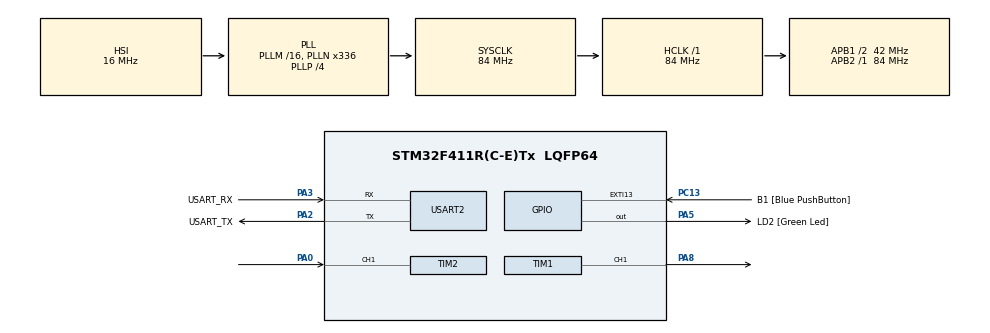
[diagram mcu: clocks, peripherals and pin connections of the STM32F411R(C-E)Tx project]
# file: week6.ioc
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Dma.Request0=TIM2_CH1
Dma.TIM2_CH1.0.Direction=DMA_PERIPH_TO_MEMORY
Dma.TIM2_CH1.0.FIFOMode=DMA_FIFOMODE_DISABLE
Dma.TIM2_CH1.0.Instance=DMA1_Stream5
Dma.TIM2_CH1.0.MemDataAlignment=DMA_MDATAALIGN_WORD
Dma.TIM2_CH1.0.MemInc=DMA_MINC_ENABLE
Dma.TIM2_CH1.0.Mode=DMA_CIRCULAR
Dma.TIM2_CH1.0.PeriphDataAlignment=DMA_PDATAALIGN_WORD
Dma.TIM2_CH1.0.PeriphInc=DMA_PINC_DISABLE
Dma.TIM2_CH1.0.Priority=DMA_PRIORITY_LOW
Mcu.Family=STM32F4
Mcu.Name=STM32F411R(C-E)Tx
Mcu.Package=LQFP64
NVIC.DMA1_Stream5_IRQn=true\:0\:0\:false\:false\:true\:false\:true\:true
NVIC.PriorityGroup=NVIC_PRIORITYGROUP_0
PA0-WKUP.Signal=S_TIM2_CH1_ETR
PA13.GPIO_Label=TMS
PA13.Mode=Serial_Wire
PA13.Signal=SYS_JTMS-SWDIO
PA14.GPIO_Label=TCK
PA14.Mode=Serial_Wire
PA14.Signal=SYS_JTCK-SWCLK
PA2.GPIO_Label=USART_TX
PA2.Mode=Asynchronous
PA2.Signal=USART2_TX
PA3.GPIO_Label=USART_RX
PA3.Mode=Asynchronous
PA3.Signal=USART2_RX
PA5.GPIO_Label=LD2 [Green Led]
PA5.Signal=GPIO_Output
PA8.Signal=S_TIM1_CH1
PB3.GPIO_Label=SWO
PB3.Signal=SYS_JTDO-SWO
PC13-ANTI_TAMP.GPIO_Label=B1 [Blue PushButton]
PC13-ANTI_TAMP.GPIO_ModeDefaultEXTI=GPIO_MODE_IT_FALLING
PC13-ANTI_TAMP.Signal=GPXTI13
PC14-OSC32_IN.Mode=LSE-External-Oscillator
PC14-OSC32_IN.Signal=RCC_OSC32_IN
PC15-OSC32_OUT.Mode=LSE-External-Oscillator
PC15-OSC32_OUT.Signal=RCC_OSC32_OUT
PH0\ -\ OSC_IN.Mode=HSE-External-Clock-Source
PH0\ -\ OSC_IN.Signal=RCC_OSC_IN
PH1\ -\ OSC_OUT.Mode=HSE-External-Clock-Source
PH1\ -\ OSC_OUT.Signal=RCC_OSC_OUT
ProjectManager.HeapSize=0x200
ProjectManager.StackSize=0x400
ProjectManager.TargetToolchain=STM32CubeIDE
RCC.48MHZClocksFreq_Value=84000000
RCC.AHBFreq_Value=84000000
RCC.APB1CLKDivider=RCC_HCLK_DIV2
RCC.APB1Freq_Value=42000000
RCC.APB1TimFreq_Value=84000000
RCC.APB2Freq_Value=84000000
RCC.APB2TimFreq_Value=84000000
RCC.CortexFreq_Value=84000000
RCC.FLatency-AdvancedSettings=FLASH_LATENCY_2
RCC.HCLKFreq_Value=84000000
RCC.HSE_VALUE=8000000
RCC.HSI_VALUE=16000000
RCC.PLLN=336
RCC.PLLP=RCC_PLLP_DIV4
RCC.SYSCLKFreq_VALUE=84000000
RCC.SYSCLKSource=RCC_SYSCLKSOURCE_PLLCLK
RCC.VCOOutputFreq_Value=336000000
SH.S_TIM1_CH1.0=TIM1_CH1,PWM Generation1 CH1
SH.S_TIM2_CH1_ETR.0=TIM2_CH1,Input_Capture1_from_TI1
TIM1.Channel-PWM\ Generation1\ CH1=TIM_CHANNEL_1
TIM1.Period=999
TIM1.Prescaler=83
TIM1.Pulse-PWM\ Generation1\ CH1=500
TIM2.Channel-Input_Capture1_from_TI1=TIM_CHANNEL_1
TIM2.Period=4294967295
TIM2.Prescaler=83
USART2.VirtualMode=VM_ASYNC
VP_TIM1_VS_ClockSourceINT.Mode=Internal
VP_TIM2_VS_ClockSourceINT.Mode=Internal
board=NUCLEO-F411RE

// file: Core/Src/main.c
/* USER CODE BEGIN Header */
/**
  ******************************************************************************
  * @file           : main.c
  * @brief          : Main program body
  ******************************************************************************
  * @attention
  *
  * Copyright (c) 2023 STMicroelectronics.
  * All rights reserved.
  *
  * This software is licensed under terms that can be found in the LICENSE file
  * in the root directory of this software component.
  * If no LICENSE file comes with this software, it is provided AS-IS.
  *
  ******************************************************************************
  */
/* USER CODE END Header */
#include "main.h"

/* USER CODE BEGIN Includes */
#define IC_BUFFER_SIZE 20
/* USER CODE END Includes */

TIM_HandleTypeDef htim1;
TIM_HandleTypeDef htim2;
DMA_HandleTypeDef hdma_tim2_ch1;

UART_HandleTypeDef huart2;

/* USER CODE BEGIN PV */
uint32_t InputCaptureBuffer[IC_BUFFER_SIZE];
float averageRisingedgePeriod;
uint32_t MotorSetduty =0;
uint32_t MotorReadRPM;
int32_t sumdiff;
uint32_t MotorSetRPM;
uint32_t MotorControlEnable = 0;
/* USER CODE END PV */

void SystemClock_Config(void);
static void MX_GPIO_Init(void);
static void MX_DMA_Init(void);
static void MX_USART2_UART_Init(void);
static void MX_TIM2_Init(void);
static void MX_TIM1_Init(void);
/* USER CODE BEGIN PFP */
float IC_Calc_Period();
/* USER CODE END PFP */

int main(void)
{

  /* MCU Configuration--------------------------------------------------------*/

  /* Reset of all peripherals, Initializes the Flash interface and the Systick. */
  HAL_Init();

  /* Configure the system clock */
  SystemClock_Config();

  /* Initialize all configured peripherals */
  MX_GPIO_Init();
  MX_DMA_Init();
  MX_USART2_UART_Init();
  MX_TIM2_Init();
  MX_TIM1_Init();
  /* USER CODE BEGIN 2 */
HAL_TIM_Base_Start(&htim2);
HAL_TIM_IC_Start_DMA(&htim2, TIM_CHANNEL_1, InputCaptureBuffer, IC_BUFFER_SIZE);

HAL_TIM_Base_Start(&htim1);
HAL_TIM_PWM_Start(&htim1, TIM_CHANNEL_1);
  /* USER CODE END 2 */

  /* Infinite loop */
  while (1)
  {

    /* USER CODE BEGIN 3 */
	  static uint32_t timestamp = 0;
	  if (HAL_GetTick()> timestamp)
	  {
		  timestamp = HAL_GetTick()+500;
		  averageRisingedgePeriod = IC_Calc_Period();
		  __HAL_TIM_SET_COMPARE(&htim1,TIM_CHANNEL_1,MotorSetduty*10);

		  MotorReadRPM = (60 * 1000000)/(12*64*averageRisingedgePeriod);

		  if (MotorControlEnable == 0)
		  	  {
			  __HAL_TIM_SET_COMPARE(&htim1,TIM_CHANNEL_1,MotorSetduty*10);
		  	  }
		  else if (MotorControlEnable == 1)
		  {
			  if(MotorSetRPM > MotorReadRPM)
			  {
				  MotorSetduty = (MotorSetduty+1);
			  }
			  else if (MotorSetRPM < MotorReadRPM)
		  	  {
				  MotorDataDuty = (MotorSetduty-1);
		  	  }
			  else if(MotorSetduty >= 100){
				  MotorSetduty = 100;
			  }
			  else if (MotorSetduty <= 0){
				  MotorSetduty = 0;
			  }
	     }
	  }
  }
  /* USER CODE END 3 */
}

void SystemClock_Config(void)
{
  RCC_OscInitTypeDef RCC_OscInitStruct = {0};
  RCC_ClkInitTypeDef RCC_ClkInitStruct = {0};

  /** Configure the main internal regulator output voltage
  */
  __HAL_RCC_PWR_CLK_ENABLE();
  __HAL_PWR_VOLTAGESCALING_CONFIG(PWR_REGULATOR_VOLTAGE_SCALE1);

  /** Initializes the RCC Oscillators according to the specified parameters
  * in the RCC_OscInitTypeDef structure.
  */
  RCC_OscInitStruct.OscillatorType = RCC_OSCILLATORTYPE_HSI;
  RCC_OscInitStruct.HSIState = RCC_HSI_ON;
  RCC_OscInitStruct.HSICalibrationValue = RCC_HSICALIBRATION_DEFAULT;
  RCC_OscInitStruct.PLL.PLLState = RCC_PLL_ON;
  RCC_OscInitStruct.PLL.PLLSource = RCC_PLLSOURCE_HSI;
  RCC_OscInitStruct.PLL.PLLM = 16;
  RCC_OscInitStruct.PLL.PLLN = 336;
  RCC_OscInitStruct.PLL.PLLP = RCC_PLLP_DIV4;
  RCC_OscInitStruct.PLL.PLLQ = 4;
  if (HAL_RCC_OscConfig(&RCC_OscInitStruct) != HAL_OK)
  {
    Error_Handler();
  }

  /** Initializes the CPU, AHB and APB buses clocks
  */
  RCC_ClkInitStruct.ClockType = RCC_CLOCKTYPE_HCLK|RCC_CLOCKTYPE_SYSCLK
                              |RCC_CLOCKTYPE_PCLK1|RCC_CLOCKTYPE_PCLK2;
  RCC_ClkInitStruct.SYSCLKSource = RCC_SYSCLKSOURCE_PLLCLK;
  RCC_ClkInitStruct.AHBCLKDivider = RCC_SYSCLK_DIV1;
  RCC_ClkInitStruct.APB1CLKDivider = RCC_HCLK_DIV2;
  RCC_ClkInitStruct.APB2CLKDivider = RCC_HCLK_DIV1;

  if (HAL_RCC_ClockConfig(&RCC_ClkInitStruct, FLASH_LATENCY_2) != HAL_OK)
  {
    Error_Handler();
  }
}

static void MX_TIM1_Init(void)
{

  TIM_ClockConfigTypeDef sClockSourceConfig = {0};
  TIM_MasterConfigTypeDef sMasterConfig = {0};
  TIM_OC_InitTypeDef sConfigOC = {0};
  TIM_BreakDeadTimeConfigTypeDef sBreakDeadTimeConfig = {0};

  htim1.Instance = TIM1;
  htim1.Init.Prescaler = 83;
  htim1.Init.CounterMode = TIM_COUNTERMODE_UP;
  htim1.Init.Period = 999;
  htim1.Init.ClockDivision = TIM_CLOCKDIVISION_DIV1;
  htim1.Init.RepetitionCounter = 0;
  htim1.Init.AutoReloadPreload = TIM_AUTORELOAD_PRELOAD_DISABLE;
  if (HAL_TIM_Base_Init(&htim1) != HAL_OK)
  {
    Error_Handler();
  }
  sClockSourceConfig.ClockSource = TIM_CLOCKSOURCE_INTERNAL;
  if (HAL_TIM_ConfigClockSource(&htim1, &sClockSourceConfig) != HAL_OK)
  {
    Error_Handler();
  }
  if (HAL_TIM_PWM_Init(&htim1) != HAL_OK)
  {
    Error_Handler();
  }
  sMasterConfig.MasterOutputTrigger = TIM_TRGO_RESET;
  sMasterConfig.MasterSlaveMode = TIM_MASTERSLAVEMODE_DISABLE;
  if (HAL_TIMEx_MasterConfigSynchronization(&htim1, &sMasterConfig) != HAL_OK)
  {
    Error_Handler();
  }
  sConfigOC.OCMode = TIM_OCMODE_PWM1;
  sConfigOC.Pulse = 500;
  sConfigOC.OCPolarity = TIM_OCPOLARITY_HIGH;
  sConfigOC.OCNPolarity = TIM_OCNPOLARITY_HIGH;
  sConfigOC.OCFastMode = TIM_OCFAST_DISABLE;
  sConfigOC.OCIdleState = TIM_OCIDLESTATE_RESET;
  sConfigOC.OCNIdleState = TIM_OCNIDLESTATE_RESET;
  if (HAL_TIM_PWM_ConfigChannel(&htim1, &sConfigOC, TIM_CHANNEL_1) != HAL_OK)
  {
    Error_Handler();
  }
  sBreakDeadTimeConfig.OffStateRunMode = TIM_OSSR_DISABLE;
  sBreakDeadTimeConfig.OffStateIDLEMode = TIM_OSSI_DISABLE;
  sBreakDeadTimeConfig.LockLevel = TIM_LOCKLEVEL_OFF;
  sBreakDeadTimeConfig.DeadTime = 0;
  sBreakDeadTimeConfig.BreakState = TIM_BREAK_DISABLE;
  sBreakDeadTimeConfig.BreakPolarity = TIM_BREAKPOLARITY_HIGH;
  sBreakDeadTimeConfig.AutomaticOutput = TIM_AUTOMATICOUTPUT_DISABLE;
  if (HAL_TIMEx_ConfigBreakDeadTime(&htim1, &sBreakDeadTimeConfig) != HAL_OK)
  {
    Error_Handler();
  }
  HAL_TIM_MspPostInit(&htim1);

}

static void MX_TIM2_Init(void)
{

  TIM_ClockConfigTypeDef sClockSourceConfig = {0};
  TIM_MasterConfigTypeDef sMasterConfig = {0};
  TIM_IC_InitTypeDef sConfigIC = {0};

  htim2.Instance = TIM2;
  htim2.Init.Prescaler = 83;
  htim2.Init.CounterMode = TIM_COUNTERMODE_UP;
  htim2.Init.Period = 4294967295;
  htim2.Init.ClockDivision = TIM_CLOCKDIVISION_DIV1;
  htim2.Init.AutoReloadPreload = TIM_AUTORELOAD_PRELOAD_DISABLE;
  if (HAL_TIM_Base_Init(&htim2) != HAL_OK)
  {
    Error_Handler();
  }
  sClockSourceConfig.ClockSource = TIM_CLOCKSOURCE_INTERNAL;
  if (HAL_TIM_ConfigClockSource(&htim2, &sClockSourceConfig) != HAL_OK)
  {
    Error_Handler();
  }
  if (HAL_TIM_IC_Init(&htim2) != HAL_OK)
  {
    Error_Handler();
  }
  sMasterConfig.MasterOutputTrigger = TIM_TRGO_RESET;
  sMasterConfig.MasterSlaveMode = TIM_MASTERSLAVEMODE_DISABLE;
  if (HAL_TIMEx_MasterConfigSynchronization(&htim2, &sMasterConfig) != HAL_OK)
  {
    Error_Handler();
  }
  sConfigIC.ICPolarity = TIM_INPUTCHANNELPOLARITY_RISING;
  sConfigIC.ICSelection = TIM_ICSELECTION_DIRECTTI;
  sConfigIC.ICPrescaler = TIM_ICPSC_DIV1;
  sConfigIC.ICFilter = 0;
  if (HAL_TIM_IC_ConfigChannel(&htim2, &sConfigIC, TIM_CHANNEL_1) != HAL_OK)
  {
    Error_Handler();
  }

}

static void MX_USART2_UART_Init(void)
{

  huart2.Instance = USART2;
  huart2.Init.BaudRate = 115200;
  huart2.Init.WordLength = UART_WORDLENGTH_8B;
  huart2.Init.StopBits = UART_STOPBITS_1;
  huart2.Init.Parity = UART_PARITY_NONE;
  huart2.Init.Mode = UART_MODE_TX_RX;
  huart2.Init.HwFlowCtl = UART_HWCONTROL_NONE;
  huart2.Init.OverSampling = UART_OVERSAMPLING_16;
  if (HAL_UART_Init(&huart2) != HAL_OK)
  {
    Error_Handler();
  }

}

static void MX_DMA_Init(void)
{

  /* DMA controller clock enable */
  __HAL_RCC_DMA1_CLK_ENABLE();

  /* DMA interrupt init */
  /* DMA1_Stream5_IRQn interrupt configuration */
  HAL_NVIC_SetPriority(DMA1_Stream5_IRQn, 0, 0);
  HAL_NVIC_EnableIRQ(DMA1_Stream5_IRQn);

}

static void MX_GPIO_Init(void)
{
  GPIO_InitTypeDef GPIO_InitStruct = {0};

  /* GPIO Ports Clock Enable */
  __HAL_RCC_GPIOC_CLK_ENABLE();
  __HAL_RCC_GPIOH_CLK_ENABLE();
  __HAL_RCC_GPIOA_CLK_ENABLE();
  __HAL_RCC_GPIOB_CLK_ENABLE();

  /*Configure GPIO pin Output Level */
  HAL_GPIO_WritePin(LD2_GPIO_Port, LD2_Pin, GPIO_PIN_RESET);

  /*Configure GPIO pin : B1_Pin */
  GPIO_InitStruct.Pin = B1_Pin;
  GPIO_InitStruct.Mode = GPIO_MODE_IT_FALLING;
  GPIO_InitStruct.Pull = GPIO_NOPULL;
  HAL_GPIO_Init(B1_GPIO_Port, &GPIO_InitStruct);

  /*Configure GPIO pin : LD2_Pin */
  GPIO_InitStruct.Pin = LD2_Pin;
  GPIO_InitStruct.Mode = GPIO_MODE_OUTPUT_PP;
  GPIO_InitStruct.Pull = GPIO_NOPULL;
  GPIO_InitStruct.Speed = GPIO_SPEED_FREQ_LOW;
  HAL_GPIO_Init(LD2_GPIO_Port, &GPIO_InitStruct);

}

/* USER CODE BEGIN 4 */
float IC_Calc_Period()
{
	uint32_t currentDMAPointer = IC_BUFFER_SIZE - __HAL_DMA_GET_COUNTER((htim2.hdma[1]));
	uint32_t lastVaildDMAPointer = (currentDMAPointer-1 + IC_BUFFER_SIZE) % IC_BUFFER_SIZE;
	uint32_t i = (lastVaildDMAPointer + IC_BUFFER_SIZE - 6)% IC_BUFFER_SIZE;

 sumdiff = 0;
	while(i != lastVaildDMAPointer)
	{
		uint32_t fistCapture = InputCaptureBuffer[i];

		uint32_t NextCapture = InputCaptureBuffer[(i+1)%IC_BUFFER_SIZE];
		sumdiff += NextCapture - fistCapture;
		i = (i+1)% IC_BUFFER_SIZE;
	}
	return sumdiff / 5.0;
}
/* USER CODE END 4 */

void Error_Handler(void)
{
  __disable_irq();
  while (1)
  {
  }
}
